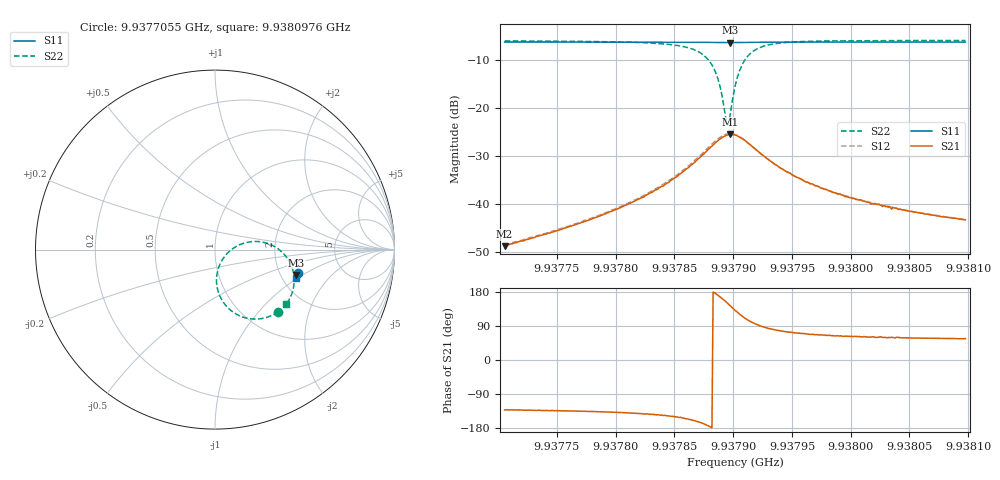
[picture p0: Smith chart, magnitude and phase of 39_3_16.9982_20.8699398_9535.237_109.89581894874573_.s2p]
#  HZ  S  RI  R  50.00
! Rohde & Schwarz Vector Network Analyzer
! Rohde-Schwarz,ZNB20-2Port,1311601062101988,3.16
! Created: UTC 3/20/2024, 10:53:50 PM
! freq[Hz]  re:S11  im:S11  re:S21  im:S21  re:S12  im:S12  re:S22  im:S22
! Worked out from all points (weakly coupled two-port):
!   401 points, 9.9377055 GHz to 9.9380976 GHz, reference 50 ohm
!   highest |S21| = -25.54 dB at 9.9378976 GHz (marker M1); lowest = -48.7 dB at 9.9377055 GHz (marker M2)
!   lowest |S11| = -6.5 dB at 9.9378976 GHz (marker M3), VSWR 2.81, Z = 121 - j44.4 ohm
!   |S11| at or under -10 dB: nowhere
!   |S22| runs from -23.6 to -6.0 dB; largest |S21 - S12| = 0.0039
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9.93770554e9  0.463 -0.1327  -0.00244 -0.00274  -0.00253 -0.00279  0.3525 -0.3454
9.9377712e9  0.461 -0.1373  -0.0046 -0.00456  -0.00475 -0.00454  0.3294 -0.36
9.93780844e9  0.4599 -0.1401  -0.00736 -0.00637  -0.00766 -0.00638  0.3024 -0.3727
9.93783686e9  0.4587 -0.1423  -0.0121 -0.00857  -0.0124 -0.00833  0.2598 -0.3845
9.93786234e9  0.457 -0.1442  -0.0222 -0.00958  -0.0233 -0.00944  0.1715 -0.3807
9.93787704e9  0.4551 -0.1449  -0.0347 -0.00545  -0.0365 -0.00439  0.0723 -0.3244
9.93788292e9  0.454 -0.1448  -0.0412 0.000492  -0.0431 0.0025  0.0289 -0.2629
9.93788684e9  0.4533 -0.1444  -0.0449 0.00684  -0.0465 0.00946  0.0107 -0.2022
9.93788978e9  0.4531 -0.1439  -0.0466 0.0128  -0.0476 0.0164  0.00949 -0.147
9.93789468e9  0.4527 -0.1427  -0.0455 0.0251  -0.0452 0.0288  0.0443 -0.0513
9.93789566e9  0.4527 -0.1426  -0.0447 0.0274  -0.0439 0.031  0.0564 -0.0345
9.93789762e9  0.4528 -0.142  -0.0421 0.0319  -0.0406 0.0356  0.087 -0.00391
9.93790154e9  0.4536 -0.1414  -0.0345 0.0392  -0.0322 0.0418  0.1619 0.0364
9.93790449e9  0.454 -0.1412  -0.0278 0.0422  -0.0253 0.0441  0.22 0.0455
9.93790841e9  0.4551 -0.1408  -0.0192 0.0433  -0.0165 0.0443  0.2891 0.0357
9.93791331e9  0.4559 -0.1413  -0.0103 0.0412  -0.00801 0.0415  0.3527 0.00359
9.93791919e9  0.4568 -0.142  -0.0031 0.037  -0.00137 0.0367  0.3993 -0.043
9.93793977e9  0.4575 -0.1447  0.00531 0.0233  0.00599 0.0231  0.441 -0.161
9.93796721e9  0.457 -0.1474  0.00615 0.0151  0.00655 0.0146  0.433 -0.2298
9.93799661e9  0.4564 -0.15  0.00541 0.0107  0.00586 0.0106  0.4209 -0.2631
9.93803287e9  0.4554 -0.1524  0.00481 0.0081  0.00498 0.00802  0.4092 -0.2846
9.93809755e9  0.4536 -0.157  0.00381 0.00572  0.00398 0.00573  0.3957 -0.3045
